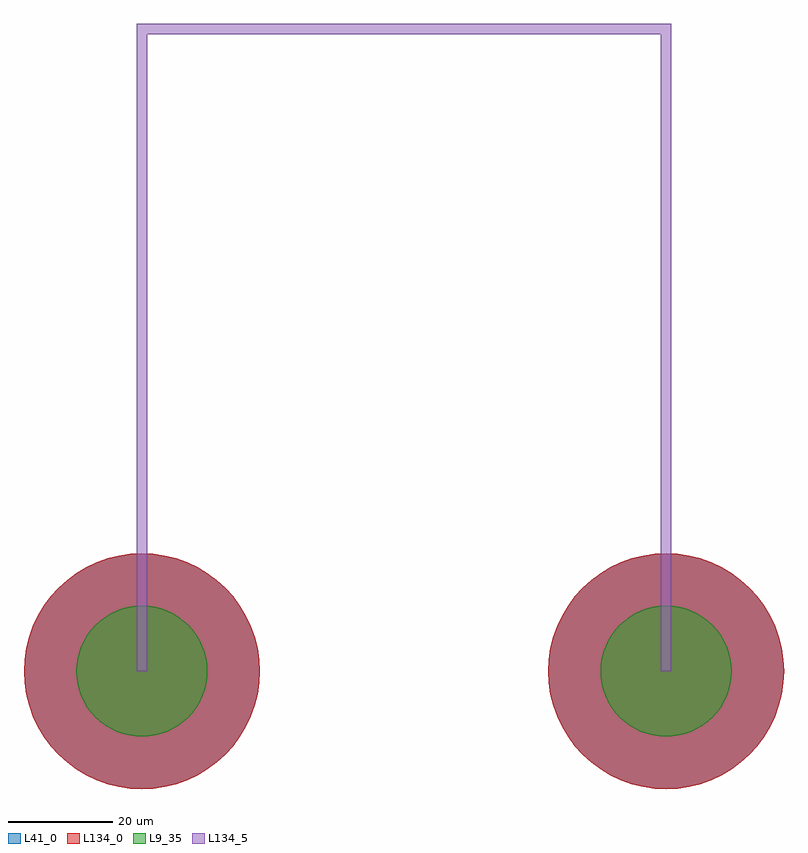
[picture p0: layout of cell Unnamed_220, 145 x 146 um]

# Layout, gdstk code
from math import pi, radians
import gdstk
lib = gdstk.Library(unit=1e-6, precision=1e-09)
def R(c, l, rs):  # rectangles x0, y0, x1, y1
    for r in rs: c.add(gdstk.rectangle(r[:2], r[2:], *l))
def P(c, l, *ps):  # polygons
    for p in ps: c.add(gdstk.Polygon(p, *l))
L9_35 = (9, 35)
L41_0 = (41, 0)
L134_0 = (134, 0)
L134_5 = (134, 5)

straight_l10_csstrip_wno = lib.new_cell('straight_L10_CSstrip_WNone_N2')
R(straight_l10_csstrip_wno, L134_5, [(0,-1,10,1)])

cupillarpad = lib.new_cell('CuPillarPad')
P(cupillarpad, L9_35, [(0,-12.5),(-1.225,-12.44),(-2.439,-12.26),(-3.629,-11.962),(-4.784,-11.548),(-5.892,-11.024),(-6.945,-10.393),(-7.93,-9.663),(-8.839,-8.839),(-9.663,-7.93),(-10.393,-6.945),(-11.024,-5.892),(-11.548,-4.784),(-11.962,-3.629),(-12.26,-2.439),(-12.44,-1.225),(-12.5,0),(-12.44,1.225),(-12.26,2.439),(-11.962,3.629),(-11.548,4.784),(-11.024,5.892),(-10.393,6.945),(-9.663,7.93),(-8.839,8.839),(-7.93,9.663),(-6.945,10.393),(-5.892,11.024),(-4.784,11.548),(-3.629,11.962),(-2.439,12.26),(-1.225,12.44),(0,12.5),(1.225,12.44),(2.439,12.26),(3.629,11.962),(4.784,11.548),(5.892,11.024),(6.945,10.393),(7.93,9.663),(8.839,8.839),(9.663,7.93),(10.393,6.945),(11.024,5.892),(11.548,4.784),(11.962,3.629),(12.26,2.439),(12.44,1.225),(12.5,0),(12.44,-1.225),(12.26,-2.439),(11.962,-3.629),(11.548,-4.784),(11.024,-5.892),(10.393,-6.945),(9.663,-7.93),(8.839,-8.839),(7.93,-9.663),(6.945,-10.393),(5.892,-11.024),(4.784,-11.548),(3.629,-11.962),(2.439,-12.26),(1.225,-12.44)])
P(cupillarpad, L41_0, [(0,-22.5),(-2.205,-22.392),(-4.39,-22.068),(-6.531,-21.531),(-8.61,-20.787),(-10.606,-19.843),(-12.5,-18.708),(-14.274,-17.393),(-15.91,-15.91),(-17.393,-14.274),(-18.708,-12.5),(-19.843,-10.606),(-20.787,-8.61),(-21.531,-6.531),(-22.068,-4.39),(-22.392,-2.205),(-22.5,0),(-22.392,2.205),(-22.068,4.39),(-21.531,6.531),(-20.787,8.61),(-19.843,10.606),(-18.708,12.5),(-17.393,14.274),(-15.91,15.91),(-14.274,17.393),(-12.5,18.708),(-10.606,19.843),(-8.61,20.787),(-6.531,21.531),(-4.39,22.068),(-2.205,22.392),(0,22.5),(2.205,22.392),(4.39,22.068),(6.531,21.531),(8.61,20.787),(10.606,19.843),(12.5,18.708),(14.274,17.393),(15.91,15.91),(17.393,14.274),(18.708,12.5),(19.843,10.606),(20.787,8.61),(21.531,6.531),(22.068,4.39),(22.392,2.205),(22.5,0),(22.392,-2.205),(22.068,-4.39),(21.531,-6.531),(20.787,-8.61),(19.843,-10.606),(18.708,-12.5),(17.393,-14.274),(15.91,-15.91),(14.274,-17.393),(12.5,-18.708),(10.606,-19.843),(8.61,-20.787),(6.531,-21.531),(4.39,-22.068),(2.205,-22.392)])
P(cupillarpad, L134_0, [(0,-22.5),(-2.205,-22.392),(-4.39,-22.068),(-6.531,-21.531),(-8.61,-20.787),(-10.606,-19.843),(-12.5,-18.708),(-14.274,-17.393),(-15.91,-15.91),(-17.393,-14.274),(-18.708,-12.5),(-19.843,-10.606),(-20.787,-8.61),(-21.531,-6.531),(-22.068,-4.39),(-22.392,-2.205),(-22.5,0),(-22.392,2.205),(-22.068,4.39),(-21.531,6.531),(-20.787,8.61),(-19.843,10.606),(-18.708,12.5),(-17.393,14.274),(-15.91,15.91),(-14.274,17.393),(-12.5,18.708),(-10.606,19.843),(-8.61,20.787),(-6.531,21.531),(-4.39,22.068),(-2.205,22.392),(0,22.5),(2.205,22.392),(4.39,22.068),(6.531,21.531),(8.61,20.787),(10.606,19.843),(12.5,18.708),(14.274,17.393),(15.91,15.91),(17.393,14.274),(18.708,12.5),(19.843,10.606),(20.787,8.61),(21.531,6.531),(22.068,4.39),(22.392,2.205),(22.5,0),(22.392,-2.205),(22.068,-4.39),(21.531,-6.531),(20.787,-8.61),(19.843,-10.606),(18.708,-12.5),(17.393,-14.274),(15.91,-15.91),(14.274,-17.393),(12.5,-18.708),(10.606,-19.843),(8.61,-20.787),(6.531,-21.531),(4.39,-22.068),(2.205,-22.392)])

wire_corner_csmetal_rout = lib.new_cell('wire_corner_CSmetal_routing_WNone')
R(wire_corner_csmetal_rout, L134_5, [(-1,-1,1,1)])

straight_l44_csmetal_rou = lib.new_cell('straight_L44_CSmetal_routing_W2_N2')
R(straight_l44_csmetal_rou, L134_5, [(0,-1,44,1)])

straight_l121p5_csmetal_ = lib.new_cell('straight_L121p5_CSmetal_routing_W2_N2')
R(straight_l121p5_csmetal_, L134_5, [(0,-1,121.5,1)])

unnamed_220 = lib.new_cell('Unnamed_220')
unnamed_220.add(gdstk.Reference(straight_l10_csstrip_wno, (0,0)))
unnamed_220.add(gdstk.Reference(cupillarpad, (-45,-122.5), rotation=3*pi/2))
unnamed_220.add(gdstk.Reference(cupillarpad, (55,-122.5), rotation=3*pi/2))
unnamed_220.add(gdstk.Reference(straight_l10_csstrip_wno, (0,0)))
unnamed_220.add(gdstk.Reference(wire_corner_csmetal_rout, (-45,0), rotation=pi/2, x_reflection=True))
unnamed_220.add(gdstk.Reference(straight_l44_csmetal_rou, (0,0), rotation=pi))
unnamed_220.add(gdstk.Reference(straight_l121p5_csmetal_, (-45,-1), rotation=3*pi/2))
unnamed_220.add(gdstk.Reference(wire_corner_csmetal_rout, (55,0), rotation=pi/2))
unnamed_220.add(gdstk.Reference(straight_l44_csmetal_rou, (10,0)))
unnamed_220.add(gdstk.Reference(straight_l121p5_csmetal_, (55,-1), rotation=3*pi/2))

lib.write_gds('Unnamed_220.gds')
